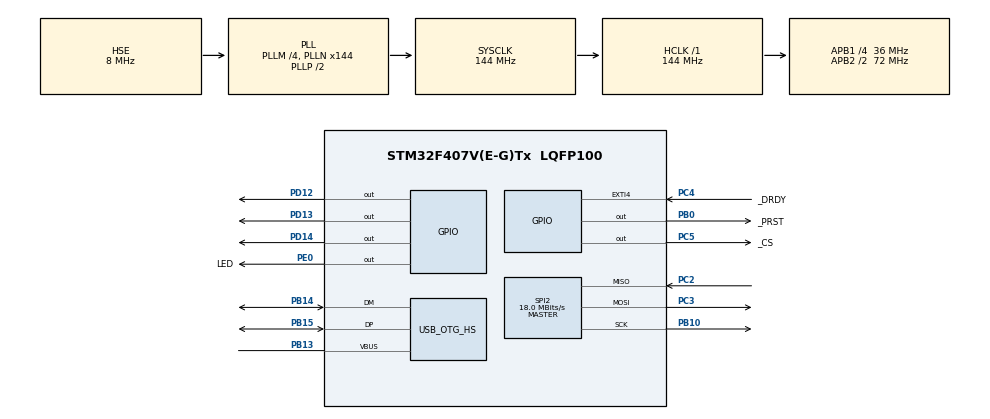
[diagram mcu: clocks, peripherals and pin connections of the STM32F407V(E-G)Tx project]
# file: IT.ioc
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Mcu.Family=STM32F4
Mcu.Name=STM32F407V(E-G)Tx
Mcu.Package=LQFP100
NVIC.EXTI4_IRQn=true\:0\:0\:false\:false\:true\:true\:true\:true
NVIC.OTG_HS_IRQn=true\:0\:0\:false\:false\:true\:true\:true\:true
NVIC.PriorityGroup=NVIC_PRIORITYGROUP_4
NVIC.TIM1_UP_TIM10_IRQn=true\:15\:0\:false\:false\:true\:false\:true\:true
NVIC.TimeBase=TIM1_UP_TIM10_IRQn
NVIC.TimeBaseIP=TIM1
PA13.Mode=Serial_Wire
PA13.Signal=SYS_JTMS-SWDIO
PA14.Mode=Serial_Wire
PA14.Signal=SYS_JTCK-SWCLK
PB0.GPIO_Label=_PRST
PB0.Signal=GPIO_Output
PB10.Mode=Full_Duplex_Master
PB10.Signal=SPI2_SCK
PB13.Mode=Activate_VBUS_FS
PB13.Signal=USB_OTG_HS_VBUS
PB14.Mode=Device_Only_FS
PB14.Signal=USB_OTG_HS_DM
PB15.Mode=Device_Only_FS
PB15.Signal=USB_OTG_HS_DP
PC14-OSC32_IN.Mode=LSE-External-Oscillator
PC14-OSC32_IN.Signal=RCC_OSC32_IN
PC15-OSC32_OUT.Mode=LSE-External-Oscillator
PC15-OSC32_OUT.Signal=RCC_OSC32_OUT
PC2.Mode=Full_Duplex_Master
PC2.Signal=SPI2_MISO
PC3.Mode=Full_Duplex_Master
PC3.Signal=SPI2_MOSI
PC4.GPIO_Label=_DRDY
PC4.GPIO_ModeDefaultEXTI=GPIO_MODE_IT_FALLING
PC4.Signal=GPXTI4
PC5.GPIO_Label=_CS
PC5.Signal=GPIO_Output
PD12.Signal=GPIO_Output
PD13.Signal=GPIO_Output
PD14.GPIO_Speed=GPIO_SPEED_FREQ_VERY_HIGH
PD14.Signal=GPIO_Output
PE0.GPIO_Label=LED
PE0.Signal=GPIO_Output
PH0-OSC_IN.Mode=HSE-External-Oscillator
PH0-OSC_IN.Signal=RCC_OSC_IN
PH1-OSC_OUT.Mode=HSE-External-Oscillator
PH1-OSC_OUT.Signal=RCC_OSC_OUT
ProjectManager.HeapSize=0x600
ProjectManager.StackSize=0x400
ProjectManager.TargetToolchain=STM32CubeIDE
RCC.48MHZClocksFreq_Value=48000000
RCC.AHBFreq_Value=144000000
RCC.APB1CLKDivider=RCC_HCLK_DIV4
RCC.APB1Freq_Value=36000000
RCC.APB1TimFreq_Value=72000000
RCC.APB2CLKDivider=RCC_HCLK_DIV2
RCC.APB2Freq_Value=72000000
RCC.APB2TimFreq_Value=144000000
RCC.CortexFreq_Value=144000000
RCC.HCLKFreq_Value=144000000
RCC.HSE_VALUE=8000000
RCC.HSI_VALUE=16000000
RCC.PLLM=4
RCC.PLLN=144
RCC.PLLQ=6
RCC.SYSCLKFreq_VALUE=144000000
RCC.SYSCLKSource=RCC_SYSCLKSOURCE_PLLCLK
RCC.VCOOutputFreq_Value=288000000
SPI2.BaudRatePrescaler=SPI_BAUDRATEPRESCALER_2
SPI2.CLKPhase=SPI_PHASE_2EDGE
SPI2.CalculateBaudRate=18.0 MBits/s
SPI2.Direction=SPI_DIRECTION_2LINES
SPI2.Mode=SPI_MODE_MASTER
SPI2.VirtualType=VM_MASTER
USB_DEVICE.CLASS_NAME_HS=CDC
USB_DEVICE.PID_CDC_HS=0x573e
USB_DEVICE.VirtualMode-CDC_HS=Cdc
USB_DEVICE.VirtualModeHS=Cdc_HS
USB_OTG_HS.VirtualMode-Device_Only_FS=Device_Only_FS
USB_OTG_HS.dma_enable-Device_Only_FS=ENABLE
USB_OTG_HS.use_dedicated_ep1-Device_Only_FS=DISABLE
VP_SYS_VS_tim1.Mode=TIM1
VP_USB_DEVICE_VS_USB_DEVICE_CDC_HS.Mode=CDC_HS
board=custom

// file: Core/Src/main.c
/* USER CODE BEGIN Header */
/**
  ******************************************************************************
  * @file           : main.c
  * @brief          : Main program body
  ******************************************************************************
  * @attention
  *
  * Copyright (c) 2026 STMicroelectronics.
  * All rights reserved.
  *
  * This software is licensed under terms that can be found in the LICENSE file
  * in the root directory of this software component.
  * If no LICENSE file comes with this software, it is provided AS-IS.
  *
  ******************************************************************************
  */
/* USER CODE END Header */
#include "main.h"

/* USER CODE BEGIN Includes */
#include "ads1299lib.h"
#include "ads1299lib_STM32F407.h"
#include "usb_device.h"
#include "usbd_cdc_if.h"
/* USER CODE END Includes */

/* USER CODE BEGIN PV */
volatile uint8_t flag=1;
#define MAX_SAMPLES 64*10
__ALIGNED(4) volatile uint8_t buffer0[ADS_BYTES_PER_SAMPLE * MAX_SAMPLES];
__ALIGNED(4) volatile uint8_t buffer1[ADS_BYTES_PER_SAMPLE * MAX_SAMPLES];
volatile uint8_t *write=buffer0;
volatile uint8_t *send=NULL;
volatile int samples=0;
ads_t ads_device;
/* USER CODE END PV */

void SystemClock_Config(void);
static void MX_GPIO_Init(void);
static void MX_SPI2_Init(void);

int main(void)
{

  /* MCU Configuration--------------------------------------------------------*/

  /* Reset of all peripherals, Initializes the Flash interface and the Systick. */
  HAL_Init();

  /* Configure the system clock */
  SystemClock_Config();

  /* Initialize all configured peripherals */
  MX_GPIO_Init();
  MX_SPI2_Init();
  /* USER CODE BEGIN 2 */
  //cuando resetea el  dispositivo pongo D+ y D- del USB en bajo para que Windows lo re-enumere
    LL_AHB1_GRP1_EnableClock(LL_AHB1_GRP1_PERIPH_GPIOB);
    LL_GPIO_InitTypeDef GPIO_InitStruct = {0};
    GPIO_InitStruct.Pin = LL_GPIO_PIN_14;
    GPIO_InitStruct.Mode = LL_GPIO_MODE_INPUT;
    GPIO_InitStruct.Pull = LL_GPIO_PULL_DOWN;
    LL_GPIO_Init(GPIOB, &GPIO_InitStruct);

    GPIO_InitStruct.Pin = LL_GPIO_PIN_15;
    GPIO_InitStruct.Mode = LL_GPIO_MODE_OUTPUT;
    GPIO_InitStruct.Pull = LL_GPIO_PULL_DOWN;
    LL_GPIO_Init(GPIOB, &GPIO_InitStruct);

    LL_GPIO_ResetOutputPin(GPIOB, LL_GPIO_PIN_15);

    HAL_Delay(1000 );

    MX_USB_DEVICE_Init();

    HAL_Delay(1000 );

    STM32_interface_handler_t hw_interface = {
        .spi = SPI2,
        .cs_port = GPIOC,
        .cs_pin = GPIO_PIN_5,
        .prst_port = GPIOB,
        .prst_pin = GPIO_PIN_0,
        .drdy_port = GPIOC,
        .drdy_pin = GPIO_PIN_4,
		.drdy_EXTI_IRQn = EXTI4_IRQn,
		.drdy_EXTI_line = LL_EXTI_LINE_4,

        .delay = HAL_Delay,  // Provide your delay function

    };

    // Configure 8 channels with equal settings
    ads_init_t init_config = {
        .num_channels = 4,
        .data_rate = ADS_DR_16KSPS,  // 16 kHz sampling rate
        .interface_Handler = &hw_interface,
    };

    // Initialize all channels with same configuration
    for(int i = 0; i < 4; i++) {
        init_config.channel_config[i].enabled = ADS_CHANNEL_ENABLED;
        init_config.channel_config[i].gain = ADS_GAIN_24;  // 24x gain
        init_config.channel_config[i].mode = ADS_CHMOD_TEST;  // Normal electrode mode
    }

    // Perform initialization
    ads_result_t result = ads_init(&ads_device, &init_config);
    if(result == ADS_R_OK) {
        printf("ADS1299 initialized successfully\n");
    } else {
        printf("ADS1299 initialization failed\n");
        // Handle error
    }

    ads_start(&ads_device);
  /* USER CODE END 2 */

  /* Infinite loop */
  /* USER CODE BEGIN WHILE */
  while (1)
  {

	  if(flag && send!=NULL){
	  		  GPIOD->BSRR = GPIO_PIN_13;

	  		  CDC_Transmit_HS((uint8_t*)send,MAX_SAMPLES * ADS_BYTES_PER_SAMPLE);
	  		  flag=0;
	  		  send = 0;

	  		  GPIOD->BSRR = GPIO_PIN_13<<16;

	  	  }
    /* USER CODE END WHILE */

  }
}

void SystemClock_Config(void)
{
  RCC_OscInitTypeDef RCC_OscInitStruct = {0};
  RCC_ClkInitTypeDef RCC_ClkInitStruct = {0};

  /** Configure the main internal regulator output voltage
  */
  __HAL_RCC_PWR_CLK_ENABLE();
  __HAL_PWR_VOLTAGESCALING_CONFIG(PWR_REGULATOR_VOLTAGE_SCALE1);

  /** Initializes the RCC Oscillators according to the specified parameters
  * in the RCC_OscInitTypeDef structure.
  */
  RCC_OscInitStruct.OscillatorType = RCC_OSCILLATORTYPE_HSE;
  RCC_OscInitStruct.HSEState = RCC_HSE_ON;
  RCC_OscInitStruct.PLL.PLLState = RCC_PLL_ON;
  RCC_OscInitStruct.PLL.PLLSource = RCC_PLLSOURCE_HSE;
  RCC_OscInitStruct.PLL.PLLM = 4;
  RCC_OscInitStruct.PLL.PLLN = 144;
  RCC_OscInitStruct.PLL.PLLP = RCC_PLLP_DIV2;
  RCC_OscInitStruct.PLL.PLLQ = 6;
  if (HAL_RCC_OscConfig(&RCC_OscInitStruct) != HAL_OK)
  {
    Error_Handler();
  }

  /** Initializes the CPU, AHB and APB buses clocks
  */
  RCC_ClkInitStruct.ClockType = RCC_CLOCKTYPE_HCLK|RCC_CLOCKTYPE_SYSCLK
                              |RCC_CLOCKTYPE_PCLK1|RCC_CLOCKTYPE_PCLK2;
  RCC_ClkInitStruct.SYSCLKSource = RCC_SYSCLKSOURCE_PLLCLK;
  RCC_ClkInitStruct.AHBCLKDivider = RCC_SYSCLK_DIV1;
  RCC_ClkInitStruct.APB1CLKDivider = RCC_HCLK_DIV4;
  RCC_ClkInitStruct.APB2CLKDivider = RCC_HCLK_DIV2;

  if (HAL_RCC_ClockConfig(&RCC_ClkInitStruct, FLASH_LATENCY_4) != HAL_OK)
  {
    Error_Handler();
  }
}

static void MX_SPI2_Init(void)
{

  LL_SPI_InitTypeDef SPI_InitStruct = {0};

  LL_GPIO_InitTypeDef GPIO_InitStruct = {0};

  /* Peripheral clock enable */
  LL_APB1_GRP1_EnableClock(LL_APB1_GRP1_PERIPH_SPI2);

  LL_AHB1_GRP1_EnableClock(LL_AHB1_GRP1_PERIPH_GPIOC);
  LL_AHB1_GRP1_EnableClock(LL_AHB1_GRP1_PERIPH_GPIOB);
  /**SPI2 GPIO Configuration
  PC2   ------> SPI2_MISO
  PC3   ------> SPI2_MOSI
  PB10   ------> SPI2_SCK
  */
  GPIO_InitStruct.Pin = LL_GPIO_PIN_2|LL_GPIO_PIN_3;
  GPIO_InitStruct.Mode = LL_GPIO_MODE_ALTERNATE;
  GPIO_InitStruct.Speed = LL_GPIO_SPEED_FREQ_VERY_HIGH;
  GPIO_InitStruct.OutputType = LL_GPIO_OUTPUT_PUSHPULL;
  GPIO_InitStruct.Pull = LL_GPIO_PULL_NO;
  GPIO_InitStruct.Alternate = LL_GPIO_AF_5;
  LL_GPIO_Init(GPIOC, &GPIO_InitStruct);

  GPIO_InitStruct.Pin = LL_GPIO_PIN_10;
  GPIO_InitStruct.Mode = LL_GPIO_MODE_ALTERNATE;
  GPIO_InitStruct.Speed = LL_GPIO_SPEED_FREQ_VERY_HIGH;
  GPIO_InitStruct.OutputType = LL_GPIO_OUTPUT_PUSHPULL;
  GPIO_InitStruct.Pull = LL_GPIO_PULL_NO;
  GPIO_InitStruct.Alternate = LL_GPIO_AF_5;
  LL_GPIO_Init(GPIOB, &GPIO_InitStruct);

  /* SPI2 parameter configuration*/
  SPI_InitStruct.TransferDirection = LL_SPI_FULL_DUPLEX;
  SPI_InitStruct.Mode = LL_SPI_MODE_MASTER;
  SPI_InitStruct.DataWidth = LL_SPI_DATAWIDTH_8BIT;
  SPI_InitStruct.ClockPolarity = LL_SPI_POLARITY_LOW;
  SPI_InitStruct.ClockPhase = LL_SPI_PHASE_2EDGE;
  SPI_InitStruct.NSS = LL_SPI_NSS_SOFT;
  SPI_InitStruct.BaudRate = LL_SPI_BAUDRATEPRESCALER_DIV2;
  SPI_InitStruct.BitOrder = LL_SPI_MSB_FIRST;
  SPI_InitStruct.CRCCalculation = LL_SPI_CRCCALCULATION_DISABLE;
  SPI_InitStruct.CRCPoly = 10;
  LL_SPI_Init(SPI2, &SPI_InitStruct);
  LL_SPI_SetStandard(SPI2, LL_SPI_PROTOCOL_MOTOROLA);

}

static void MX_GPIO_Init(void)
{
  LL_EXTI_InitTypeDef EXTI_InitStruct = {0};
  LL_GPIO_InitTypeDef GPIO_InitStruct = {0};

  /* GPIO Ports Clock Enable */
  LL_AHB1_GRP1_EnableClock(LL_AHB1_GRP1_PERIPH_GPIOC);
  LL_AHB1_GRP1_EnableClock(LL_AHB1_GRP1_PERIPH_GPIOH);
  LL_AHB1_GRP1_EnableClock(LL_AHB1_GRP1_PERIPH_GPIOB);
  LL_AHB1_GRP1_EnableClock(LL_AHB1_GRP1_PERIPH_GPIOD);
  LL_AHB1_GRP1_EnableClock(LL_AHB1_GRP1_PERIPH_GPIOA);
  LL_AHB1_GRP1_EnableClock(LL_AHB1_GRP1_PERIPH_GPIOE);

  /**/
  LL_GPIO_ResetOutputPin(_CS_GPIO_Port, _CS_Pin);

  /**/
  LL_GPIO_ResetOutputPin(_PRST_GPIO_Port, _PRST_Pin);

  /**/
  LL_GPIO_ResetOutputPin(GPIOD, LL_GPIO_PIN_12|LL_GPIO_PIN_13|LL_GPIO_PIN_14);

  /**/
  LL_GPIO_ResetOutputPin(LED_GPIO_Port, LED_Pin);

  /**/
  LL_SYSCFG_SetEXTISource(LL_SYSCFG_EXTI_PORTC, LL_SYSCFG_EXTI_LINE4);

  /**/
  EXTI_InitStruct.Line_0_31 = LL_EXTI_LINE_4;
  EXTI_InitStruct.LineCommand = ENABLE;
  EXTI_InitStruct.Mode = LL_EXTI_MODE_IT;
  EXTI_InitStruct.Trigger = LL_EXTI_TRIGGER_FALLING;
  LL_EXTI_Init(&EXTI_InitStruct);

  /**/
  LL_GPIO_SetPinPull(_DRDY_GPIO_Port, _DRDY_Pin, LL_GPIO_PULL_NO);

  /**/
  LL_GPIO_SetPinMode(_DRDY_GPIO_Port, _DRDY_Pin, LL_GPIO_MODE_INPUT);

  /**/
  GPIO_InitStruct.Pin = _CS_Pin;
  GPIO_InitStruct.Mode = LL_GPIO_MODE_OUTPUT;
  GPIO_InitStruct.Speed = LL_GPIO_SPEED_FREQ_LOW;
  GPIO_InitStruct.OutputType = LL_GPIO_OUTPUT_PUSHPULL;
  GPIO_InitStruct.Pull = LL_GPIO_PULL_NO;
  LL_GPIO_Init(_CS_GPIO_Port, &GPIO_InitStruct);

  /**/
  GPIO_InitStruct.Pin = _PRST_Pin;
  GPIO_InitStruct.Mode = LL_GPIO_MODE_OUTPUT;
  GPIO_InitStruct.Speed = LL_GPIO_SPEED_FREQ_LOW;
  GPIO_InitStruct.OutputType = LL_GPIO_OUTPUT_PUSHPULL;
  GPIO_InitStruct.Pull = LL_GPIO_PULL_NO;
  LL_GPIO_Init(_PRST_GPIO_Port, &GPIO_InitStruct);

  /**/
  GPIO_InitStruct.Pin = LL_GPIO_PIN_12|LL_GPIO_PIN_13;
  GPIO_InitStruct.Mode = LL_GPIO_MODE_OUTPUT;
  GPIO_InitStruct.Speed = LL_GPIO_SPEED_FREQ_LOW;
  GPIO_InitStruct.OutputType = LL_GPIO_OUTPUT_PUSHPULL;
  GPIO_InitStruct.Pull = LL_GPIO_PULL_NO;
  LL_GPIO_Init(GPIOD, &GPIO_InitStruct);

  /**/
  GPIO_InitStruct.Pin = LL_GPIO_PIN_14;
  GPIO_InitStruct.Mode = LL_GPIO_MODE_OUTPUT;
  GPIO_InitStruct.Speed = LL_GPIO_SPEED_FREQ_VERY_HIGH;
  GPIO_InitStruct.OutputType = LL_GPIO_OUTPUT_PUSHPULL;
  GPIO_InitStruct.Pull = LL_GPIO_PULL_NO;
  LL_GPIO_Init(GPIOD, &GPIO_InitStruct);

  /**/
  GPIO_InitStruct.Pin = LED_Pin;
  GPIO_InitStruct.Mode = LL_GPIO_MODE_OUTPUT;
  GPIO_InitStruct.Speed = LL_GPIO_SPEED_FREQ_LOW;
  GPIO_InitStruct.OutputType = LL_GPIO_OUTPUT_PUSHPULL;
  GPIO_InitStruct.Pull = LL_GPIO_PULL_NO;
  LL_GPIO_Init(LED_GPIO_Port, &GPIO_InitStruct);

  /* EXTI interrupt init*/
  NVIC_SetPriority(EXTI4_IRQn, NVIC_EncodePriority(NVIC_GetPriorityGrouping(),0, 0));
  NVIC_EnableIRQ(EXTI4_IRQn);

}

void HAL_TIM_PeriodElapsedCallback(TIM_HandleTypeDef *htim)
{
  if (htim->Instance == TIM1)
  {
    HAL_IncTick();
  }
}

void Error_Handler(void)
{
  __disable_irq();
  while (1)
  {
  }
}
